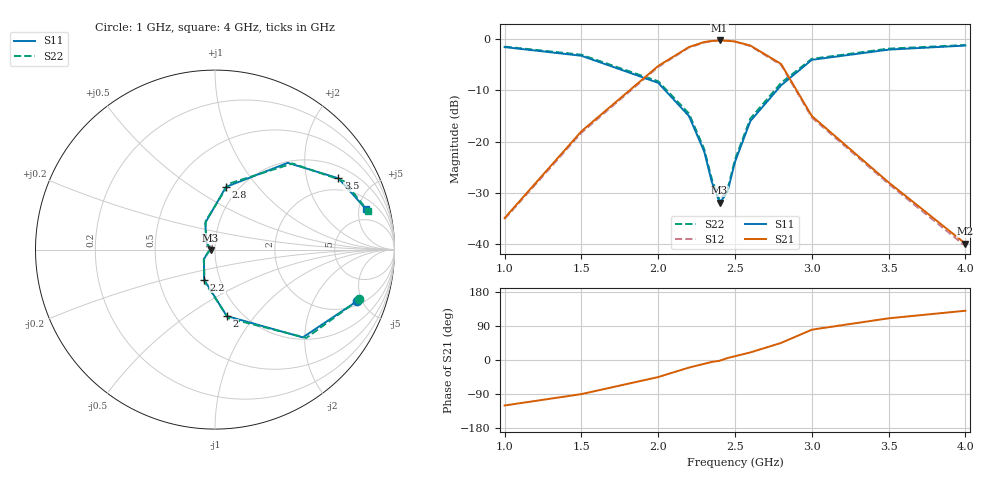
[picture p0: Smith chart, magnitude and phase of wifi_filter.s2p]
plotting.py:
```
"""
Touchstone.Parser — Plotting Example
Demonstrates how to visualize S-parameter data using matplotlib.

Mirrors the .NET Touchstone.Plotting.Example project.

Requirements:
    pip install matplotlib
    (or: pip install touchstone.parser[viz])
"""

import os
import sys

import numpy as np

# ════════════════════════════════════════════════════════════════════
#  Touchstone.Parser — Plotting Example
#  Demonstrates how to visualize S-parameter data using matplotlib
# ════════════════════════════════════════════════════════════════════


def main():
    try:
        import matplotlib.pyplot as plt
    except ImportError:
        print("Error: matplotlib is required for this example.")
        print("Install it with: pip install matplotlib")
        print("  or: pip install touchstone.parser[viz]")
        sys.exit(1)

    from touchstone.parser import TouchstoneParser
    from touchstone.parser.utilities.touchstone_data_extensions import (
        get_magnitude,
        get_phase,
    )

    print("📊 Touchstone Plotting Demo")
    print("══════════════════════════")

    # 1. Parse the Touchstone file
    sample_dir = os.path.join(os.path.dirname(__file__), "sample_data")
    file_path = os.path.join(sample_dir, "wifi_filter.s2p")
    data = TouchstoneParser.parse(file_path)

    print(f"Loaded {file_path} ({data.count} points)")

    # 2. Prepare data for plotting
    frequencies_ghz = data.frequency / 1e9
    s11_db = get_magnitude(data, 1, 1, db=True)
    s21_db = get_magnitude(data, 2, 1, db=True)

    # 3. Create S-parameter magnitude plot
    fig, (ax1, ax2) = plt.subplots(2, 1, figsize=(10, 8), sharex=True)

    # S11 and S21 magnitude
    ax1.plot(frequencies_ghz, s11_db, "b-", linewidth=2, label="S11 (Return Loss)")
    ax1.plot(frequencies_ghz, s21_db, "r-", linewidth=2, label="S21 (Insertion Loss)")
    ax1.set_title("Filter S-Parameters", fontsize=14, fontweight="bold")
    ax1.set_ylabel("Magnitude (dB)")
    ax1.set_ylim(-60, 5)
    ax1.grid(True, alpha=0.3)
    ax1.legend(loc="best")
    ax1.axhline(y=-3, color="gray", linestyle="--", alpha=0.5, label="-3 dB line")

    # S11 and S21 phase
    s11_phase = get_phase(data, 1, 1, deg=True)
    s21_phase = get_phase(data, 2, 1, deg=True)

    ax2.plot(frequencies_ghz, s11_phase, "b-", linewidth=2, label="S11 Phase")
    ax2.plot(frequencies_ghz, s21_phase, "r-", linewidth=2, label="S21 Phase")
    ax2.set_xlabel("Frequency (GHz)")
    ax2.set_ylabel("Phase (degrees)")
    ax2.grid(True, alpha=0.3)
    ax2.legend(loc="best")

    plt.tight_layout()

    # 4. Save the plot
    output_path = os.path.join(os.path.dirname(__file__), "s_parameters_plot.png")
    plt.savefig(output_path, dpi=150, bbox_inches="tight")

    print(f"✅ Plot saved to: {os.path.abspath(output_path)}")


if __name__ == "__main__":
    main()
```
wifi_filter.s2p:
! 2-port S-parameter data
! Device: Chebyshev bandpass filter
! Center frequency: 2.4 GHz (Wi-Fi band)
! Bandwidth: 100 MHz
! Insertion loss: < 1 dB in passband
! Return loss: > 15 dB in passband
! Reference impedance: 50 ohms
# GHZ S DB R 50
! Freq(GHz) S11(dB) S11(deg) S21(dB) S21(deg) S12(dB) S12(deg) S22(dB) S22(deg)
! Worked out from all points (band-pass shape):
!   14 points, 1 GHz to 4 GHz, reference 50 ohm
!   highest |S21| = -0.20 dB at 2.4 GHz (marker M1); lowest = -40.0 dB at 4 GHz (marker M2)
!   |S21| within 3 dB of the highest: 2.108 GHz to 2.711 GHz (603 MHz wide, 25 % of centre)
!   lowest |S11| = -32.0 dB at 2.4 GHz (marker M3), VSWR 1.05, Z = 47.6 - j0.208 ohm
!   |S11| at or under -10 dB: 2.046 GHz to 2.771 GHz (725.3 MHz wide, 30.1 % of centre)
!   |S22| runs from -31.5 to -1.1 dB; largest |S21 - S12| = 0.02
!   S11 on the Smith chart (normalised r, x): 1 GHz: 2.31, -4.54; 2 GHz: 0.85, -0.73; 2.2 GHz: 0.84, -0.29; 2.8 GHz: 0.87, +0.70; 3.5 GHz: 1.45, +3.11; 4 GHz: 3.18, +5.93
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1  -1.50 -20.0  -35.00 -120.0  -35.20 -121.0  -1.40 -19.0
1.5  -3.20 -45.0  -18.00 -90.0  -18.30 -91.0  -3.00 -44.0
2  -8.50 -80.0  -5.20 -45.0  -5.40 -46.0  -8.20 -79.0
2.2  -15.00 -110.0  -1.50 -20.0  -1.60 -21.0  -14.50 -108.0
2.4  -32.00 -175.0  -0.20 -2.0  -0.22 -3.0  -31.50 -173.0
2.5  -24.00 140.0  -0.40 10.0  -0.45 9.0  -23.50 138.0
2.6  -16.00 110.0  -1.20 20.0  -1.30 19.0  -15.50 108.0
2.8  -9.00 80.0  -4.80 45.0  -5.00 44.0  -8.50 78.0
3  -4.00 50.0  -15.00 80.0  -15.30 79.0  -3.80 48.0
3.5  -2.00 30.0  -28.00 110.0  -28.30 109.0  -1.80 28.0
4  -1.20 15.0  -40.00 130.0  -40.50 129.0  -1.10 14.0
